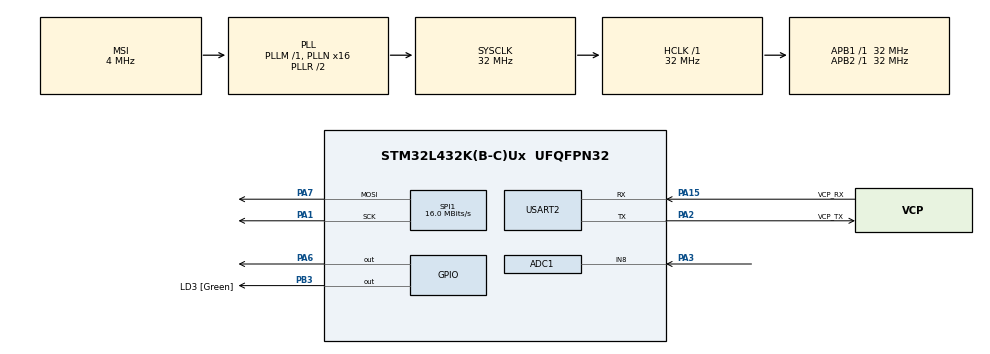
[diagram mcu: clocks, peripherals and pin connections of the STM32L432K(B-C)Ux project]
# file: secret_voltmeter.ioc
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ADC1.Channel-3\#ChannelRegularConversion=ADC_CHANNEL_8
ADC1.NbrOfConversionFlag=1
ADC1.OffsetNumber-3\#ChannelRegularConversion=ADC_OFFSET_NONE
ADC1.Rank-3\#ChannelRegularConversion=1
ADC1.SamplingTime-3\#ChannelRegularConversion=ADC_SAMPLETIME_2CYCLES_5
ADC1.master=1
FREERTOS.BinarySemaphores01=buffer1Semaphore,Static,buffer1SemaphoreControlBlock;buffer2Semaphore,Static,buffer2SemaphoreControlBlock
FREERTOS.Mutexes01=buffer1Mutex,Static,buffer1MutexControlBlock;buffer2Mutex,Static,buffer2MutexControlBlock
FREERTOS.Tasks01=defaultTask,24,128,StartDefaultTask,Default,NULL,Dynamic,NULL,NULL;readTask,24,128,StartTaskRead,Default,NULL,Static,readTaskBuffer,readTaskControlBlock;writeTask,24,128,StartTaskWrite,Default,NULL,Static,writeTaskBuffer,writeTaskControlBlock
FREERTOS.configUSE_NEWLIB_REENTRANT=1
Mcu.Family=STM32L4
Mcu.Name=STM32L432K(B-C)Ux
Mcu.Package=UFQFPN32
NVIC.PriorityGroup=NVIC_PRIORITYGROUP_4
NVIC.TIM6_DAC_IRQn=true\:15\:0\:false\:false\:true\:false\:false\:true\:true
NVIC.TimeBase=TIM6_DAC_IRQn
NVIC.TimeBaseIP=TIM6
PA0.GPIO_Label=MCO [High speed clock in]
PA0.Mode=HSE-External-Clock-Source-for-LittleOrca
PA0.Signal=RCC_CK_IN
PA1.Mode=TX_Only_Simplex_Unidirect_Master
PA1.Signal=SPI1_SCK
PA13\ (JTMS-SWDIO).GPIO_Label=SWDIO
PA13\ (JTMS-SWDIO).Mode=Serial_Wire
PA13\ (JTMS-SWDIO).Signal=SYS_JTMS-SWDIO
PA14\ (JTCK-SWCLK).GPIO_Label=SWCLK
PA14\ (JTCK-SWCLK).Mode=Serial_Wire
PA14\ (JTCK-SWCLK).Signal=SYS_JTCK-SWCLK
PA15\ (JTDI).GPIO_Label=VCP_RX
PA15\ (JTDI).Mode=Asynchronous
PA15\ (JTDI).Signal=USART2_RX
PA2.GPIO_Label=VCP_TX
PA2.Mode=Asynchronous
PA2.Signal=USART2_TX
PA3.Signal=ADCx_IN8
PA6.Signal=GPIO_Output
PA7.Mode=TX_Only_Simplex_Unidirect_Master
PA7.Signal=SPI1_MOSI
PB3\ (JTDO-TRACESWO).GPIO_Label=LD3 [Green]
PB3\ (JTDO-TRACESWO).Signal=GPIO_Output
PC14-OSC32_IN\ (PC14).Mode=LSE-External-Oscillator
PC14-OSC32_IN\ (PC14).Signal=RCC_OSC32_IN
PC15-OSC32_OUT\ (PC15).Mode=LSE-External-Oscillator
PC15-OSC32_OUT\ (PC15).Signal=RCC_OSC32_OUT
ProjectManager.HeapSize=0x200
ProjectManager.StackSize=0x400
ProjectManager.TargetToolchain=STM32CubeIDE
RCC.ADCFreq_Value=32000000
RCC.AHBFreq_Value=32000000
RCC.APB1Freq_Value=32000000
RCC.APB1TimFreq_Value=32000000
RCC.APB2Freq_Value=32000000
RCC.APB2TimFreq_Value=32000000
RCC.CortexFreq_Value=32000000
RCC.HCLKFreq_Value=32000000
RCC.HSE_VALUE=8000000
RCC.HSI16_VALUE=16000000
RCC.HSI48_VALUE=48000000
RCC.HSI_VALUE=16000000
RCC.MSI_VALUE=4000000
RCC.PLLMUL=RCC_PLLMUL_4
RCC.PLLN=16
RCC.PLLSAI1N=16
RCC.SYSCLKFreq_VALUE=32000000
RCC.SYSCLKSource=RCC_SYSCLKSOURCE_PLLCLK
RCC.USBFreq_Value=32000000
RCC.VCOOutputFreq_Value=64000000
SH.ADCx_IN8.0=ADC1_IN8,IN8-Single-Ended
SPI1.CalculateBaudRate=16.0 MBits/s
SPI1.DataSize=SPI_DATASIZE_8BIT
SPI1.Direction=SPI_DIRECTION_2LINES
SPI1.Mode=SPI_MODE_MASTER
SPI1.VirtualType=VM_MASTER
USART2.VirtualMode-Asynchronous=VM_ASYNC
VP_FREERTOS_VS_CMSIS_V2.Mode=CMSIS_V2
VP_SYS_VS_tim6.Mode=TIM6
board=NUCLEO-L432KC

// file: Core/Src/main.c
/* USER CODE BEGIN Header */
/**
  ******************************************************************************
  * @file           : main.c
  * @brief          : Main program body
  ******************************************************************************
  * @attention
  *
  * Copyright (c) 2024 STMicroelectronics.
  * All rights reserved.
  *
  * This software is licensed under terms that can be found in the LICENSE file
  * in the root directory of this software component.
  * If no LICENSE file comes with this software, it is provided AS-IS.
  *
  ******************************************************************************
  */
/* USER CODE END Header */
#include "main.h"
#include "cmsis_os.h"

/* USER CODE BEGIN Includes */
#include <stdint.h>
/* USER CODE END Includes */

typedef StaticTask_t osStaticThreadDef_t;
typedef StaticSemaphore_t osStaticMutexDef_t;
typedef StaticSemaphore_t osStaticSemaphoreDef_t;

ADC_HandleTypeDef hadc1;

SPI_HandleTypeDef hspi1;

UART_HandleTypeDef huart2;

/* Definitions for defaultTask */
osThreadId_t defaultTaskHandle;
const osThreadAttr_t defaultTask_attributes = {
  .name = "defaultTask",
  .stack_size = 128 * 4,
  .priority = (osPriority_t) osPriorityNormal,
};
/* Definitions for readTask */
osThreadId_t readTaskHandle;
uint32_t readTaskBuffer[ 128 ];
osStaticThreadDef_t readTaskControlBlock;
const osThreadAttr_t readTask_attributes = {
  .name = "readTask",
  .cb_mem = &readTaskControlBlock,
  .cb_size = sizeof(readTaskControlBlock),
  .stack_mem = &readTaskBuffer[0],
  .stack_size = sizeof(readTaskBuffer),
  .priority = (osPriority_t) osPriorityNormal,
};
/* Definitions for writeTask */
osThreadId_t writeTaskHandle;
uint32_t writeTaskBuffer[ 128 ];
osStaticThreadDef_t writeTaskControlBlock;
const osThreadAttr_t writeTask_attributes = {
  .name = "writeTask",
  .cb_mem = &writeTaskControlBlock,
  .cb_size = sizeof(writeTaskControlBlock),
  .stack_mem = &writeTaskBuffer[0],
  .stack_size = sizeof(writeTaskBuffer),
  .priority = (osPriority_t) osPriorityNormal,
};
/* Definitions for buffer1Mutex */
osMutexId_t buffer1MutexHandle;
osStaticMutexDef_t buffer1MutexControlBlock;
const osMutexAttr_t buffer1Mutex_attributes = {
  .name = "buffer1Mutex",
  .cb_mem = &buffer1MutexControlBlock,
  .cb_size = sizeof(buffer1MutexControlBlock),
};
/* Definitions for buffer2Mutex */
osMutexId_t buffer2MutexHandle;
osStaticMutexDef_t buffer2MutexControlBlock;
const osMutexAttr_t buffer2Mutex_attributes = {
  .name = "buffer2Mutex",
  .cb_mem = &buffer2MutexControlBlock,
  .cb_size = sizeof(buffer2MutexControlBlock),
};
/* Definitions for buffer1Semaphore */
osSemaphoreId_t buffer1SemaphoreHandle;
osStaticSemaphoreDef_t buffer1SemaphoreControlBlock;
const osSemaphoreAttr_t buffer1Semaphore_attributes = {
  .name = "buffer1Semaphore",
  .cb_mem = &buffer1SemaphoreControlBlock,
  .cb_size = sizeof(buffer1SemaphoreControlBlock),
};
/* Definitions for buffer2Semaphore */
osSemaphoreId_t buffer2SemaphoreHandle;
osStaticSemaphoreDef_t buffer2SemaphoreControlBlock;
const osSemaphoreAttr_t buffer2Semaphore_attributes = {
  .name = "buffer2Semaphore",
  .cb_mem = &buffer2SemaphoreControlBlock,
  .cb_size = sizeof(buffer2SemaphoreControlBlock),
};
/* USER CODE BEGIN PV */
uint16_t buffer1[4];
uint16_t buffer2[4];
/* USER CODE END PV */

void SystemClock_Config(void);
static void MX_GPIO_Init(void);
static void MX_USART2_UART_Init(void);
static void MX_SPI1_Init(void);
static void MX_ADC1_Init(void);
void StartDefaultTask(void *argument);
void StartTaskRead(void *argument);
void StartTaskWrite(void *argument);

int main(void)
{

  /* MCU Configuration--------------------------------------------------------*/

  /* Reset of all peripherals, Initializes the Flash interface and the Systick. */
  HAL_Init();

  /* Configure the system clock */
  SystemClock_Config();

  /* Initialize all configured peripherals */
  MX_GPIO_Init();
  MX_USART2_UART_Init();
  MX_SPI1_Init();
  MX_ADC1_Init();

  /* Init scheduler */
  osKernelInitialize();
  /* Create the mutex(es) */
  /* creation of buffer1Mutex */
  buffer1MutexHandle = osMutexNew(&buffer1Mutex_attributes);

  /* creation of buffer2Mutex */
  buffer2MutexHandle = osMutexNew(&buffer2Mutex_attributes);

  /* Create the semaphores(s) */
  /* creation of buffer1Semaphore */
  buffer1SemaphoreHandle = osSemaphoreNew(1, 0, &buffer1Semaphore_attributes);

  /* creation of buffer2Semaphore */
  buffer2SemaphoreHandle = osSemaphoreNew(1, 0, &buffer2Semaphore_attributes);

  /* Create the thread(s) */
  /* creation of defaultTask */
  defaultTaskHandle = osThreadNew(StartDefaultTask, NULL, &defaultTask_attributes);

  /* creation of readTask */
  readTaskHandle = osThreadNew(StartTaskRead, NULL, &readTask_attributes);

  /* creation of writeTask */
  writeTaskHandle = osThreadNew(StartTaskWrite, NULL, &writeTask_attributes);

  /* Start scheduler */
  osKernelStart();

  /* We should never get here as control is now taken by the scheduler */

  /* Infinite loop */
  while (1)
  {

  }
}

void SystemClock_Config(void)
{
  RCC_OscInitTypeDef RCC_OscInitStruct = {0};
  RCC_ClkInitTypeDef RCC_ClkInitStruct = {0};

  /** Configure the main internal regulator output voltage
  */
  if (HAL_PWREx_ControlVoltageScaling(PWR_REGULATOR_VOLTAGE_SCALE1) != HAL_OK)
  {
    Error_Handler();
  }

  /** Configure LSE Drive Capability
  */
  HAL_PWR_EnableBkUpAccess();
  __HAL_RCC_LSEDRIVE_CONFIG(RCC_LSEDRIVE_LOW);

  /** Initializes the RCC Oscillators according to the specified parameters
  * in the RCC_OscInitTypeDef structure.
  */
  RCC_OscInitStruct.OscillatorType = RCC_OSCILLATORTYPE_LSE|RCC_OSCILLATORTYPE_MSI;
  RCC_OscInitStruct.LSEState = RCC_LSE_ON;
  RCC_OscInitStruct.MSIState = RCC_MSI_ON;
  RCC_OscInitStruct.MSICalibrationValue = 0;
  RCC_OscInitStruct.MSIClockRange = RCC_MSIRANGE_6;
  RCC_OscInitStruct.PLL.PLLState = RCC_PLL_ON;
  RCC_OscInitStruct.PLL.PLLSource = RCC_PLLSOURCE_MSI;
  RCC_OscInitStruct.PLL.PLLM = 1;
  RCC_OscInitStruct.PLL.PLLN = 16;
  RCC_OscInitStruct.PLL.PLLP = RCC_PLLP_DIV7;
  RCC_OscInitStruct.PLL.PLLQ = RCC_PLLQ_DIV2;
  RCC_OscInitStruct.PLL.PLLR = RCC_PLLR_DIV2;
  if (HAL_RCC_OscConfig(&RCC_OscInitStruct) != HAL_OK)
  {
    Error_Handler();
  }

  /** Initializes the CPU, AHB and APB buses clocks
  */
  RCC_ClkInitStruct.ClockType = RCC_CLOCKTYPE_HCLK|RCC_CLOCKTYPE_SYSCLK
                              |RCC_CLOCKTYPE_PCLK1|RCC_CLOCKTYPE_PCLK2;
  RCC_ClkInitStruct.SYSCLKSource = RCC_SYSCLKSOURCE_PLLCLK;
  RCC_ClkInitStruct.AHBCLKDivider = RCC_SYSCLK_DIV1;
  RCC_ClkInitStruct.APB1CLKDivider = RCC_HCLK_DIV1;
  RCC_ClkInitStruct.APB2CLKDivider = RCC_HCLK_DIV1;

  if (HAL_RCC_ClockConfig(&RCC_ClkInitStruct, FLASH_LATENCY_1) != HAL_OK)
  {
    Error_Handler();
  }

  /** Enable MSI Auto calibration
  */
  HAL_RCCEx_EnableMSIPLLMode();
}

static void MX_ADC1_Init(void)
{

  ADC_ChannelConfTypeDef sConfig = {0};

  /** Common config
  */
  hadc1.Instance = ADC1;
  hadc1.Init.ClockPrescaler = ADC_CLOCK_ASYNC_DIV1;
  hadc1.Init.Resolution = ADC_RESOLUTION_12B;
  hadc1.Init.DataAlign = ADC_DATAALIGN_RIGHT;
  hadc1.Init.ScanConvMode = ADC_SCAN_DISABLE;
  hadc1.Init.EOCSelection = ADC_EOC_SINGLE_CONV;
  hadc1.Init.LowPowerAutoWait = DISABLE;
  hadc1.Init.ContinuousConvMode = DISABLE;
  hadc1.Init.NbrOfConversion = 1;
  hadc1.Init.DiscontinuousConvMode = DISABLE;
  hadc1.Init.ExternalTrigConv = ADC_SOFTWARE_START;
  hadc1.Init.ExternalTrigConvEdge = ADC_EXTERNALTRIGCONVEDGE_NONE;
  hadc1.Init.DMAContinuousRequests = DISABLE;
  hadc1.Init.Overrun = ADC_OVR_DATA_PRESERVED;
  hadc1.Init.OversamplingMode = DISABLE;
  if (HAL_ADC_Init(&hadc1) != HAL_OK)
  {
    Error_Handler();
  }

  /** Configure Regular Channel
  */
  sConfig.Channel = ADC_CHANNEL_8;
  sConfig.Rank = ADC_REGULAR_RANK_1;
  sConfig.SamplingTime = ADC_SAMPLETIME_2CYCLES_5;
  sConfig.SingleDiff = ADC_SINGLE_ENDED;
  sConfig.OffsetNumber = ADC_OFFSET_NONE;
  sConfig.Offset = 0;
  if (HAL_ADC_ConfigChannel(&hadc1, &sConfig) != HAL_OK)
  {
    Error_Handler();
  }

}

static void MX_SPI1_Init(void)
{

  /* SPI1 parameter configuration*/
  hspi1.Instance = SPI1;
  hspi1.Init.Mode = SPI_MODE_MASTER;
  hspi1.Init.Direction = SPI_DIRECTION_2LINES;
  hspi1.Init.DataSize = SPI_DATASIZE_8BIT;
  hspi1.Init.CLKPolarity = SPI_POLARITY_LOW;
  hspi1.Init.CLKPhase = SPI_PHASE_1EDGE;
  hspi1.Init.NSS = SPI_NSS_SOFT;
  hspi1.Init.BaudRatePrescaler = SPI_BAUDRATEPRESCALER_2;
  hspi1.Init.FirstBit = SPI_FIRSTBIT_MSB;
  hspi1.Init.TIMode = SPI_TIMODE_DISABLE;
  hspi1.Init.CRCCalculation = SPI_CRCCALCULATION_DISABLE;
  hspi1.Init.CRCPolynomial = 7;
  hspi1.Init.CRCLength = SPI_CRC_LENGTH_DATASIZE;
  hspi1.Init.NSSPMode = SPI_NSS_PULSE_ENABLE;
  if (HAL_SPI_Init(&hspi1) != HAL_OK)
  {
    Error_Handler();
  }

}

static void MX_USART2_UART_Init(void)
{

  huart2.Instance = USART2;
  huart2.Init.BaudRate = 115200;
  huart2.Init.WordLength = UART_WORDLENGTH_8B;
  huart2.Init.StopBits = UART_STOPBITS_1;
  huart2.Init.Parity = UART_PARITY_NONE;
  huart2.Init.Mode = UART_MODE_TX_RX;
  huart2.Init.HwFlowCtl = UART_HWCONTROL_NONE;
  huart2.Init.OverSampling = UART_OVERSAMPLING_16;
  huart2.Init.OneBitSampling = UART_ONE_BIT_SAMPLE_DISABLE;
  huart2.AdvancedInit.AdvFeatureInit = UART_ADVFEATURE_NO_INIT;
  if (HAL_UART_Init(&huart2) != HAL_OK)
  {
    Error_Handler();
  }

}

static void MX_GPIO_Init(void)
{
  GPIO_InitTypeDef GPIO_InitStruct = {0};

  /* GPIO Ports Clock Enable */
  __HAL_RCC_GPIOC_CLK_ENABLE();
  __HAL_RCC_GPIOA_CLK_ENABLE();
  __HAL_RCC_GPIOB_CLK_ENABLE();

  /*Configure GPIO pin Output Level */
  HAL_GPIO_WritePin(GPIOA, GPIO_PIN_6, GPIO_PIN_RESET);

  /*Configure GPIO pin Output Level */
  HAL_GPIO_WritePin(LD3_GPIO_Port, LD3_Pin, GPIO_PIN_RESET);

  /*Configure GPIO pin : PA6 */
  GPIO_InitStruct.Pin = GPIO_PIN_6;
  GPIO_InitStruct.Mode = GPIO_MODE_OUTPUT_PP;
  GPIO_InitStruct.Pull = GPIO_NOPULL;
  GPIO_InitStruct.Speed = GPIO_SPEED_FREQ_LOW;
  HAL_GPIO_Init(GPIOA, &GPIO_InitStruct);

  /*Configure GPIO pin : LD3_Pin */
  GPIO_InitStruct.Pin = LD3_Pin;
  GPIO_InitStruct.Mode = GPIO_MODE_OUTPUT_PP;
  GPIO_InitStruct.Pull = GPIO_NOPULL;
  GPIO_InitStruct.Speed = GPIO_SPEED_FREQ_LOW;
  HAL_GPIO_Init(LD3_GPIO_Port, &GPIO_InitStruct);

}

/* USER CODE BEGIN 4 */
void encrypt (uint32_t v[2], const uint32_t k[4]) {
  uint32_t v0=v[0], v1=v[1], sum=0, i;   /* set up */
  uint32_t delta=0x9E3779B9;             /* a key schedule constant */
  uint32_t k0=k[0], k1=k[1], k2=k[2], k3=k[3];  /* cache key */
  for (i=0; i<32; i++) {                 /* basic cycle start */
    sum += delta;
    v0 += ((v1<<4) + k0) ^ (v1 + sum) ^ ((v1>>5) + k1);
    v1 += ((v0<<4) + k2) ^ (v0 + sum) ^ ((v0>>5) + k3);
  }                       /* end cycle */
  v[0]=v0; v[1]=v1;
}

void decrypt (uint32_t v[2], const uint32_t k[4]) {
  /* set up; "sum" was computed from the value of delta
  in the "encrypt" function: sum = (delta << 5) & 0xFFFFFFFF */
  uint32_t v0=v[0], v1=v[1], sum=0xC6EF3720, i;
  uint32_t delta=0x9E3779B9;           /* a key schedule constant */
  uint32_t k0=k[0], k1=k[1], k2=k[2], k3=k[3];  /* cache key */
  for (i=0; i<32; i++) {             /* basic cycle start */
    v1 -= ((v0<<4) + k2) ^ (v0 + sum) ^ ((v0>>5) + k3);
    v0 -= ((v1<<4) + k0) ^ (v1 + sum) ^ ((v1>>5) + k1);
    sum -= delta;
  }                       /* end cycle */
  v[0]=v0; v[1]=v1;
}

/* USER CODE END 4 */

void StartDefaultTask(void *argument)
{
  for(;;)
  {
    osDelay(1);
  }
}

void StartTaskRead(void *argument)
{
  /* USER CODE BEGIN StartTaskRead */

  /* Infinite loop */
  for(;;)
  {
	  osSemaphoreAcquire(buffer1SemaphoreHandle, 100);
	  osMutexAcquire(buffer1MutexHandle, 100); //Mutex 1 acquire

	  for(uint8_t n = 0;n < 4;n++){
		  HAL_ADC_Start(&hadc1);
		  HAL_ADC_PollForConversion(&hadc1, HAL_MAX_DELAY);
		  buffer1[n] = HAL_ADC_GetValue(&hadc1);
	  }

	  osMutexRelease(buffer1MutexHandle);
	  osSemaphoreRelease(buffer1SemaphoreHandle);

	  osSemaphoreAcquire(buffer2SemaphoreHandle, 100);
	  osMutexAcquire(buffer2MutexHandle, 100); //Mutex 1 acquire

	  for(uint8_t n = 0;n < 4;n++){
		  HAL_ADC_Start(&hadc1);
		  HAL_ADC_PollForConversion(&hadc1, HAL_MAX_DELAY);
		  buffer2[n] = HAL_ADC_GetValue(&hadc1);
	  }

	  osMutexRelease(buffer2MutexHandle);
	  osSemaphoreRelease(buffer2SemaphoreHandle);
  }
  /* USER CODE END StartTaskRead */
}

void StartTaskWrite(void *argument)
{
  /* USER CODE BEGIN StartTaskWrite */
	uint32_t key[4] = {371, 215, 11, 12};
	GPIOA->ODR |= 1<<6;

  /* Infinite loop */
  for(;;)
  {
	  uint32_t encrypt_vals[2];
	  uint8_t spi_vals[8];

	  // Buffer 1
	  osSemaphoreAcquire(buffer1SemaphoreHandle, 100);
	  osMutexAcquire(buffer1MutexHandle, 100);

	  // Repackage as uint32
	  encrypt_vals[0] = buffer1[1];
	  encrypt_vals[0] = (encrypt_vals[0] << 16) | buffer1[0];
	  encrypt_vals[1] = buffer1[3];
	  encrypt_vals[1] = (encrypt_vals[0] << 16) | buffer1[2];

	  encrypt(encrypt_vals, key);

	  // Repackage as uint8
	  spi_vals[0] = encrypt_vals[0];
	  spi_vals[1] = encrypt_vals[0] >> 8;
	  spi_vals[2] = encrypt_vals[0] >> 16;
	  spi_vals[3] = encrypt_vals[0] >> 24;
	  spi_vals[4] = encrypt_vals[1];
	  spi_vals[5] = encrypt_vals[1] >> 8;
	  spi_vals[6] = encrypt_vals[1] >> 16;
	  spi_vals[7] = encrypt_vals[1] >> 24;

	  // Send out on SPI
	  GPIOA->ODR &= ~(1<<6);
	  HAL_SPI_Transmit(&hspi1, (uint8_t*)spi_vals, 8, 100);
	  GPIOA->ODR |= 1<<6;

	  osMutexRelease(buffer1MutexHandle);
	  osSemaphoreRelease(buffer1SemaphoreHandle);

	  // Buffer 2
	  osSemaphoreAcquire(buffer2SemaphoreHandle, 100);
	  osMutexAcquire(buffer2MutexHandle, 100);

	  // Repackage as uint32
	  encrypt_vals[0] = buffer2[1];
	  encrypt_vals[0] = (encrypt_vals[0] << 16) | buffer2[0];
	  encrypt_vals[1] = buffer2[3];
	  encrypt_vals[1] = (encrypt_vals[0] << 16) | buffer2[2];

	  encrypt(encrypt_vals, key);

	  // Repackage as uint8
	  spi_vals[0] = encrypt_vals[0];
	  spi_vals[1] = encrypt_vals[0] >> 8;
	  spi_vals[2] = encrypt_vals[0] >> 16;
	  spi_vals[3] = encrypt_vals[0] >> 24;
	  spi_vals[4] = encrypt_vals[1];
	  spi_vals[5] = encrypt_vals[1] >> 8;
	  spi_vals[6] = encrypt_vals[1] >> 16;
	  spi_vals[7] = encrypt_vals[1] >> 24;

	  // Send out on SPI
	  GPIOA->ODR &= ~(1<<6);
	  HAL_SPI_Transmit(&hspi1, (uint8_t*)spi_vals, 8, 100);
	  GPIOA->ODR |= 1<<6;

	  osMutexRelease(buffer2MutexHandle);
	  osSemaphoreRelease(buffer2SemaphoreHandle);
  }
  /* USER CODE END StartTaskWrite */
}

void HAL_TIM_PeriodElapsedCallback(TIM_HandleTypeDef *htim)
{
  if (htim->Instance == TIM6) {
    HAL_IncTick();
  }
}

void Error_Handler(void)
{
  __disable_irq();
  while (1)
  {
  }
}
